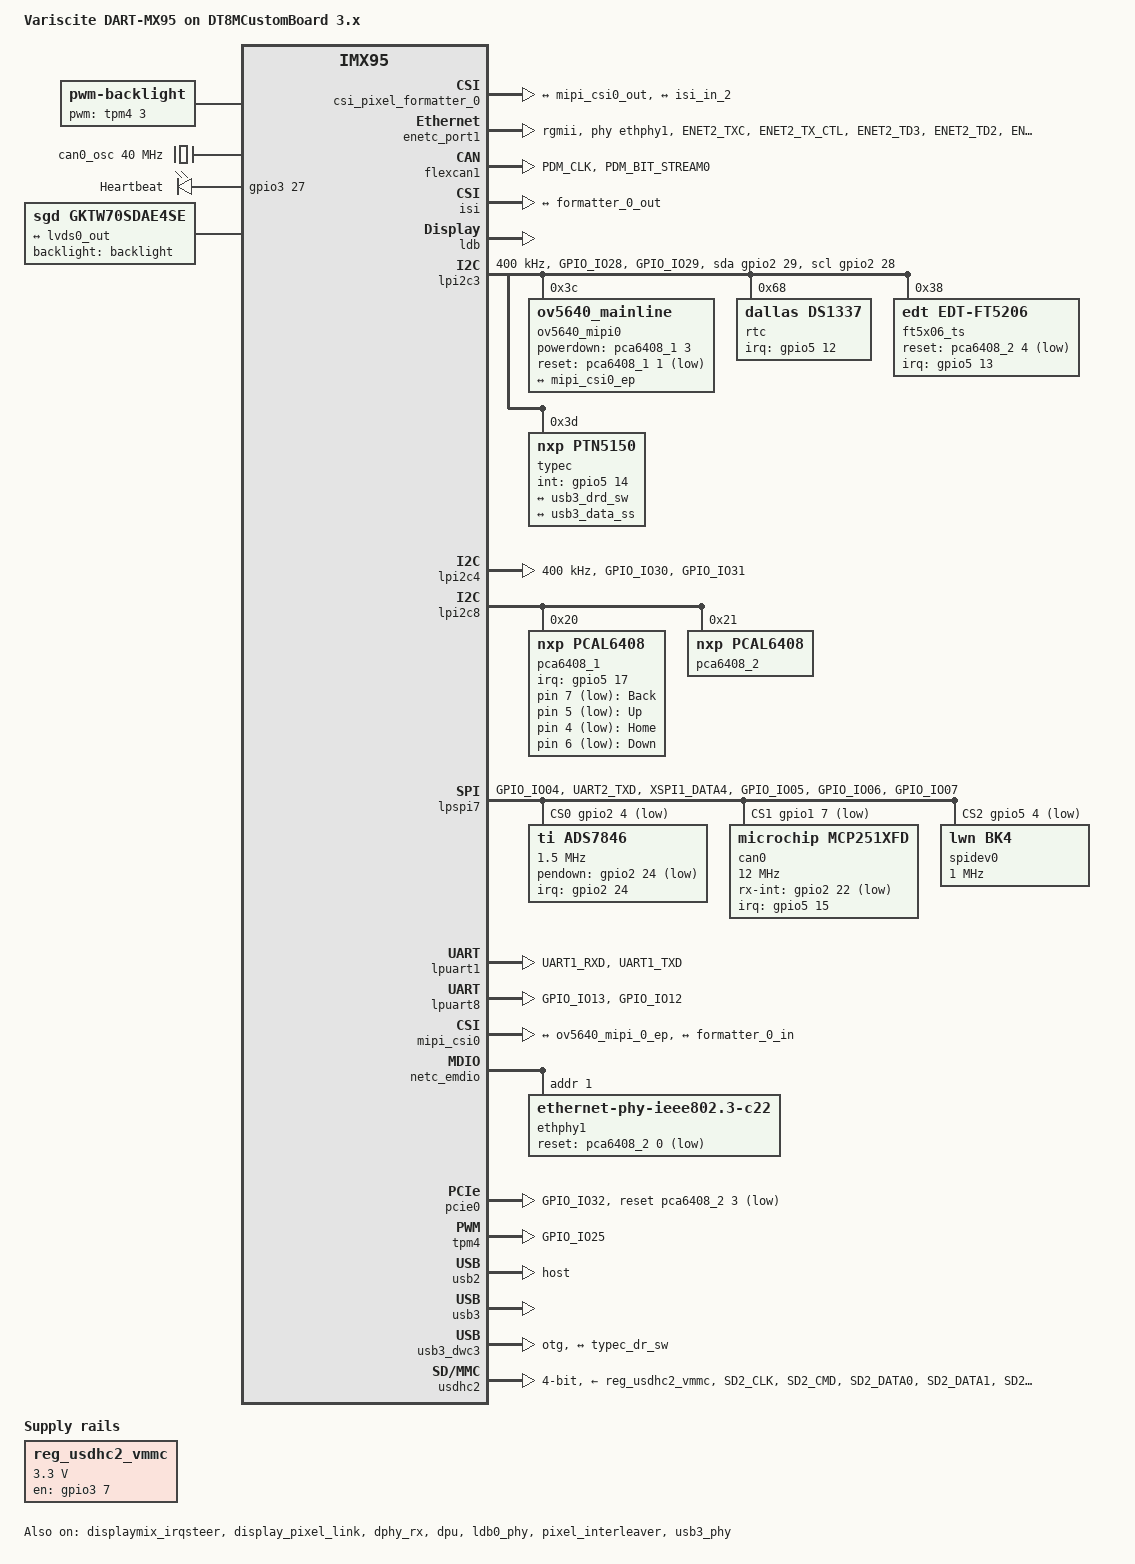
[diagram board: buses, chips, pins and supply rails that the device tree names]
// SPDX-License-Identifier: (GPL-2.0+ OR MIT)
/*
 * Copyright 2023 NXP
 * Copyright 2024-2025 Variscite Ltd.
 */

#include <dt-bindings/clock/fsl,imx95-clock.h>
#include "imx95-var-dart.dtsi"

/ {
	model = "Variscite DART-MX95 on DT8MCustomBoard 3.x";

	aliases {
		ethernet0 = &enetc_port0;
		ethernet1 = &enetc_port1;
	};

	backlight: backlight {
		compatible = "pwm-backlight";
		pwms = <&tpm4 3 1000000 0>;
		status = "okay";

		brightness-levels = < 0  1  2  3  4  5  6  7  8  9
				     10 11 12 13 14 15 16 17 18 19
				     20 21 22 23 24 25 26 27 28 29
				     30 31 32 33 34 35 36 37 38 39
				     40 41 42 43 44 45 46 47 48 49
				     50 51 52 53 54 55 56 57 58 59
				     60 61 62 63 64 65 66 67 68 69
				     70 71 72 73 74 75 76 77 78 79
				     80 81 82 83 84 85 86 87 88 89
				     90 91 92 93 94 95 96 97 98 99
				    100>;
		default-brightness-level = <80>;
	};

	can0_osc: can0_osc {
		compatible = "fixed-clock";
		#clock-cells = <0>;
		clock-frequency = <40000000>;
	};

	chosen {
		stdout-path = &lpuart1;
	};

	clk_ov5640_fixed: clock {
		#clock-cells = <0>;
		compatible = "fixed-clock";
		clock-frequency = <24000000>;
	};

	gpio-leds {
		compatible = "gpio-leds";
		pinctrl-names = "default";
		pinctrl-0 = <&pinctrl_gpio_leds>;
		status = "okay";

		heartbeat {
			label = "Heartbeat";
			gpios = <&gpio3 27 GPIO_ACTIVE_HIGH>;
			linux,default-trigger = "heartbeat";
		};
	};

	gpio-keys {
		compatible = "gpio-keys";
		status = "okay";

		back {
			label = "Back";
			linux,code = <KEY_BACK>;
			gpios = <&pca6408_1 7 GPIO_ACTIVE_LOW>;
			wakeup-source;
		};

		up {
			label = "Up";
			linux,code = <KEY_UP>;
			gpios = <&pca6408_1 5 GPIO_ACTIVE_LOW>;
			wakeup-source;
		};

		home {
			label = "Home";
			linux,code = <KEY_HOME>;
			gpios = <&pca6408_1 4 GPIO_ACTIVE_LOW>;
			wakeup-source;
		};

		down {
			label = "Down";
			linux,code = <KEY_DOWN>;
			gpios = <&pca6408_1 6 GPIO_ACTIVE_LOW>;
			wakeup-source;
		};
	};

	panel {
		compatible = "sgd,gktw70sdae4se", "panel-lvds";
		backlight = <&backlight>;
		width-mm = <153>;
		height-mm = <87>;
		label = "gktw70sdae4se";
		data-mapping = "jeida-24";
		status = "okay";

		panel-timing {
			clock-frequency = <74250000>;
			hactive = <800>;
			vactive = <480>;
			hback-porch = <40>;
			hfront-porch = <40>;
			vback-porch = <29>;
			vfront-porch = <13>;
			hsync-len = <48>;
			vsync-len = <3>;
			hsync-active = <0>;
			vsync-active = <0>;
			de-active = <1>;
		};
		port {
			panel_in: endpoint {
				remote-endpoint = <&lvds0_out>;
			};
		};
	};

	reg_usdhc2_vmmc: regulator-usdhc2 {
		compatible = "regulator-fixed";
		pinctrl-names = "default";
		pinctrl-0 = <&pinctrl_reg_usdhc2_vmmc>;
		regulator-name = "VDD_SD2_3V3";
		regulator-min-microvolt = <3300000>;
		regulator-max-microvolt = <3300000>;
		gpio = <&gpio3 7 GPIO_ACTIVE_HIGH>;
		off-on-delay-us = <12000>;
		enable-active-high;
	};
};

&csi_pixel_formatter_0 {
	status = "okay";

	ports {
		#address-cells = <1>;
		#size-cells = <0>;

		port@0 {
			reg = <0>;

			formatter_0_in: endpoint {
				remote-endpoint = <&mipi_csi0_out>;
			};
		};

		port@1 {
			reg = <1>;

			formatter_0_out: endpoint {
				remote-endpoint = <&isi_in_2>;
			};
		};
	};
};

&displaymix_irqsteer {
	status = "okay";
};

&display_pixel_link {
	status = "okay";
};

&dphy_rx {
	status = "okay";
};

&dpu {
	status = "okay";
};

&enetc_port1 {
	pinctrl-names = "default";
	pinctrl-0 = <&pinctrl_enetc1>;
	phy-handle = <&ethphy1>;
	phy-mode = "rgmii";
	status = "okay";
};

&flexcan1 {
	pinctrl-names = "default";
	pinctrl-0 = <&pinctrl_flexcan1>;
	status = "okay";
};

&gpio1 {
	status = "okay";
};

&isi {
	status = "okay";

	ports {
		#address-cells = <1>;
		#size-cells = <0>;

		port@2 {
			reg = <2>;

			isi_in_2: endpoint {
				remote-endpoint = <&formatter_0_out>;
			};
		};
	};
};

&ldb0_phy {
	status = "okay";
};

&ldb {
	#address-cells = <1>;
	#size-cells = <0>;
	assigned-clocks = <&scmi_clk IMX95_CLK_LDBPLL_VCO>,
			  <&scmi_clk IMX95_CLK_LDBPLL>;
	assigned-clock-rates = <4158000000>, <519750000>;
	status = "okay";

	channel@0 {
		#address-cells = <1>;
		#size-cells = <0>;
		status = "okay";
		reg = <0>;

		port@1 {
			reg = <1>;

			lvds0_out: endpoint {
				remote-endpoint = <&panel_in>;
			};
		};
	};
};

&lpi2c3 {
	#address-cells = <1>;
	#size-cells = <0>;
	clock-frequency = <400000>;
	pinctrl-names = "default", "gpio", "sleep";
	pinctrl-0 = <&pinctrl_lpi2c3>;
	pinctrl-1 = <&pinctrl_lpi2c3_gpio>;
	pinctrl-2 = <&pinctrl_lpi2c3_gpio>;
	scl-gpios = <&gpio2 28 GPIO_ACTIVE_HIGH>;
	sda-gpios = <&gpio2 29 GPIO_ACTIVE_HIGH>;
	status = "okay";

	ov5640_mipi0: ov5640_mipi0@3c {
		compatible = "ov5640_mainline";
		reg = <0x3c>;
		clocks = <&clk_ov5640_fixed>;
		clock-names = "xclk";
		assigned-clock-rates = <24000000>;
		powerdown-gpios = <&pca6408_1 3 GPIO_ACTIVE_HIGH>;
		reset-gpios = <&pca6408_1 1 GPIO_ACTIVE_LOW>;
		status = "okay";

		port {
			ov5640_mipi_0_ep: endpoint {
				remote-endpoint = <&mipi_csi0_ep>;
				data-lanes = <1 2>;
				clock-lanes = <0>;
			};
		};
	};

	/* DS1337 RTC module */
	rtc@68 {
		compatible = "dallas,ds1337";
		reg = <0x68>;
		pinctrl-names = "default";
		pinctrl-0 = <&pinctrl_rtc>;
		interrupt-parent = <&gpio5>;
		interrupts = <12 IRQ_TYPE_EDGE_FALLING>;
		wakeup-source;
		status = "okay";
	};

	/* Capacitive touch controller */
	ft5x06_ts: ft5x06_ts@38 {
		compatible = "edt,edt-ft5206";
		pinctrl-names = "default";
		pinctrl-0 = <&pinctrl_captouch>;
		reg = <0x38>;
		reset-gpios = <&pca6408_2 4 GPIO_ACTIVE_LOW>;
		interrupt-parent = <&gpio5>;
		interrupts = <13 IRQ_TYPE_EDGE_FALLING>;
		touchscreen-size-x = <800>;
		touchscreen-size-y = <480>;
		touchscreen-inverted-x;
		touchscreen-inverted-y;
		wakeup-source;
		status = "okay";
	};

	typec@3d {
		compatible = "nxp,ptn5150";
		pinctrl-names = "default";
		pinctrl-0 = <&pinctrl_ptn5150>;
		reg = <0x3d>;
		int-gpios =<&gpio5 14 GPIO_ACTIVE_HIGH>;
		irq-is-id-quirk;
		status ="okay";

		port {
			typec_dr_sw: endpoint {
				remote-endpoint = <&usb3_drd_sw>;
			};
		};

		typec_con: connector {
			compatible = "usb-c-connector";
			label = "USB-C";
			power-role = "dual";
			data-role = "dual";
			try-power-role = "sink";
			source-pdos = <PDO_FIXED(5000, 3000, PDO_FIXED_USB_COMM)>;
			sink-pdos = <PDO_FIXED(5000, 0, PDO_FIXED_USB_COMM)>;
			op-sink-microwatt = <0>;
			self-powered;

			ports {
				#address-cells = <1>;
				#size-cells = <0>;

				port@1 {
					reg = <1>;
					typec_con_ss: endpoint {
						remote-endpoint = <&usb3_data_ss>;
					};
				};
			};
		};
	};
};

&lpi2c4 {
	#address-cells = <1>;
	#size-cells = <0>;
	clock-frequency = <400000>;
	pinctrl-names = "default", "sleep";
	pinctrl-0 = <&pinctrl_lpi2c4>;
	pinctrl-1 = <&pinctrl_lpi2c4>;
	status = "okay";
};

&lpi2c8 {
	pca6408_1: gpio@20 {
		compatible = "nxp,pcal6408";
		standard-regs-fallback;
		reg = <0x20>;
		gpio-controller;
		#gpio-cells = <2>;
		pinctrl-names = "default";
		pinctrl-0 = <&pinctrl_pca6408>;
		interrupt-parent = <&gpio5>;
		interrupts = <17 IRQ_TYPE_EDGE_FALLING>;
	};

	pca6408_2: gpio@21 {
		compatible = "nxp,pcal6408";
		standard-regs-fallback;
		reg = <0x21>;
		gpio-controller;
		#gpio-cells = <2>;
	};
};

&lpspi7 {
	pinctrl-names = "default", "sleep";
	pinctrl-0 = <&pinctrl_lpspi7>;
	pinctrl-1 = <&pinctrl_lpspi7>;
	cs-gpios = <&gpio2 4 GPIO_ACTIVE_LOW>,
		   <&gpio1 7 GPIO_ACTIVE_LOW>,
		   <&gpio5 4 GPIO_ACTIVE_LOW>;
	status = "okay";

	/* Resistive touch controller */
	ads7846@0 {
		compatible = "ti,ads7846";
		reg = <0>;
		pinctrl-names = "default";
		pinctrl-0 = <&pinctrl_restouch>;
		interrupt-parent = <&gpio2>;
		interrupts = <24 IRQ_TYPE_EDGE_FALLING>;
		spi-max-frequency = <1500000>;
		pendown-gpio = <&gpio2 24 GPIO_ACTIVE_LOW>;
		ti,x-min = /bits/ 16 <125>;
		ti,x-max = /bits/ 16 <4008>;
		ti,y-min = /bits/ 16 <282>;
		ti,y-max = /bits/ 16 <3864>;
		ti,x-plate-ohms = /bits/ 16 <180>;
		ti,pressure-max = /bits/ 16 <255>;
		ti,debounce-max = /bits/ 16 <10>;
		ti,debounce-tol = /bits/ 16 <3>;
		ti,debounce-rep = /bits/ 16 <1>;
		ti,settle-delay-usec = /bits/ 16 <150>;
		ti,keep-vref-on;
		wakeup-source;
		status = "okay";
	};

	can0: can@1 {
		compatible = "microchip,mcp251xfd";
		reg = <1>;
		pinctrl-names = "default";
		pinctrl-0 = <&pinctrl_can>;
		interrupts-extended = <&gpio5 15 IRQ_TYPE_LEVEL_LOW>;
		microchip,rx-int-gpios = <&gpio2 22 GPIO_ACTIVE_LOW>;
		clocks = <&can0_osc>;
		spi-max-frequency = <12000000>;
		status = "okay";
	};

	spidev0: spi@2 {
		reg = <2>;
		compatible = "lwn,bk4";
		spi-max-frequency = <1000000>;
	};
};

&lpuart1 {
	/* console */
	pinctrl-names = "default";
	pinctrl-0 = <&pinctrl_uart1>;
	status = "okay";
};

/* Header (J12.4, J12.6) */
&lpuart8 {
	pinctrl-names = "default";
	pinctrl-0 = <&pinctrl_uart8>;
	status = "okay";
};

&mipi_csi0 {
	status = "okay";

	ports {
		#address-cells = <1>;
		#size-cells = <0>;

		port@0 {
			reg = <0>;
			mipi_csi0_ep: endpoint {
				remote-endpoint = <&ov5640_mipi_0_ep>;
				data-lanes = <1 2>;
				clock-lanes = <0>;
			};
		};

		port@1 {
			reg = <1>;
				mipi_csi0_out: endpoint {
				remote-endpoint = <&formatter_0_in>;
			};
		};
	};
};

&netc_emdio {

	ethphy1: ethernet-phy@1 {
		compatible = "ethernet-phy-ieee802.3-c22";
		reg = <1>;
		reset-gpios = <&pca6408_2 0 GPIO_ACTIVE_LOW>;
		reset-assert-us = <10000>;
		reset-deassert-us = <100000>;

		mxl-8611x,led0_cfg = <(
			MXL8611X_LEDX_CFG_LINK_UP_RX_ACT_ON |
			MXL8611X_LEDX_CFG_LINK_UP_TX_ACT_ON |
			MXL8611X_LEDX_CFG_TRAFFIC_ACT_BLINK_IND
		)>;
		mxl-8611x,led1_cfg = <(
			MXL8611X_LEDX_CFG_LINK_UP_10MB_ON |
			MXL8611X_LEDX_CFG_LINK_UP_100MB_ON |
			MXL8611X_LEDX_CFG_LINK_UP_1GB_ON
		)>;
	};
};

&pcie0 {
	pinctrl-0 = <&pinctrl_pcie0>;
	pinctrl-names = "default";
	fsl,refclk-pad-mode = <IMX8_PCIE_REFCLK_PAD_INPUT>;
	reset-gpio = <&pca6408_2 3 GPIO_ACTIVE_LOW>;
	status = "okay";
};

&pixel_interleaver {
	#address-cells = <1>;
	#size-cells = <0>;
	status = "okay";

	channel@0 {
		reg = <0>;
		status = "okay";
	};
};

&scmi_iomuxc {
	pinctrl_captouch: captouchgrp {
		fsl,pins = <
			IMX95_PAD_GPIO_IO33__GPIO5_IO_BIT13				0x31e
		>;
	};

	pinctrl_can: cangrp {
		fsl,pins = <
			IMX95_PAD_GPIO_IO35__GPIO5_IO_BIT15				0x31e
			IMX95_PAD_GPIO_IO22__GPIO2_IO_BIT22				0x31e
		>;
	};

	pinctrl_enetc1: enetc1grp {
		fsl,pins = <
			IMX95_PAD_ENET2_TXC__NETCMIX_TOP_ETH1_RGMII_TX_CLK		0x57e
			IMX95_PAD_ENET2_TX_CTL__NETCMIX_TOP_ETH1_RGMII_TX_CTL		0x57e
			IMX95_PAD_ENET2_TD3__NETCMIX_TOP_ETH1_RGMII_TD3			0x57e
			IMX95_PAD_ENET2_TD2__NETCMIX_TOP_ETH1_RGMII_TD2			0x57e
			IMX95_PAD_ENET2_TD1__NETCMIX_TOP_ETH1_RGMII_TD1			0x57e
			IMX95_PAD_ENET2_TD0__NETCMIX_TOP_ETH1_RGMII_TD0			0x57e
			IMX95_PAD_ENET2_RXC__NETCMIX_TOP_ETH1_RGMII_RX_CLK		0x57e
			IMX95_PAD_ENET2_RX_CTL__NETCMIX_TOP_ETH1_RGMII_RX_CTL		0x57e
			IMX95_PAD_ENET2_RD0__NETCMIX_TOP_ETH1_RGMII_RD0			0x57e
			IMX95_PAD_ENET2_RD1__NETCMIX_TOP_ETH1_RGMII_RD1			0x57e
			IMX95_PAD_ENET2_RD2__NETCMIX_TOP_ETH1_RGMII_RD2			0x57e
			IMX95_PAD_ENET2_RD3__NETCMIX_TOP_ETH1_RGMII_RD3			0x57e
		>;
	};

	pinctrl_flexcan1: flexcan1grp {
		fsl,pins = <
			IMX95_PAD_PDM_CLK__AONMIX_TOP_CAN1_TX				0x39e
			IMX95_PAD_PDM_BIT_STREAM0__AONMIX_TOP_CAN1_RX			0x39e
		>;
	};

	pinctrl_gpio_leds: ledgrp {
		fsl,pins = <
			IMX95_PAD_CCM_CLKO2__GPIO3_IO_BIT27				0x31e
		>;
	};

	pinctrl_lpi2c3: lpi2c3grp {
		fsl,pins = <
			IMX95_PAD_GPIO_IO28__LPI2C3_SDA					0x40000b9e
			IMX95_PAD_GPIO_IO29__LPI2C3_SCL					0x40000b9e
		>;
	};

	pinctrl_lpi2c3_gpio: lpi2c3grp-gpio {
		fsl,pins = <
			IMX95_PAD_GPIO_IO28__GPIO2_IO_BIT28				0x31e
			IMX95_PAD_GPIO_IO29__GPIO2_IO_BIT29				0x31e
		>;
	};

	pinctrl_lpi2c4: lpi2c4grp {
		fsl,pins = <
			IMX95_PAD_GPIO_IO30__LPI2C4_SDA					0x40000b9e
			IMX95_PAD_GPIO_IO31__LPI2C4_SCL					0x40000b9e
		>;
	};

	pinctrl_lpspi7: lpspi7grp {
		fsl,pins = <
			IMX95_PAD_GPIO_IO04__GPIO2_IO_BIT4				0x3fe		/* j16.4 ADS7846 */
			IMX95_PAD_UART2_TXD__AONMIX_TOP_GPIO1_IO_BIT7			0x3fe		/* j14.4 MCP2518FDT */
			IMX95_PAD_XSPI1_DATA4__GPIO5_IO_BIT4				0x3fe		/* j25.2 spidev */
			IMX95_PAD_GPIO_IO05__LPSPI7_SIN					0x3fe
			IMX95_PAD_GPIO_IO06__LPSPI7_SOUT				0x3fe
			IMX95_PAD_GPIO_IO07__LPSPI7_SCK					0x3fe
		>;
	};

	pinctrl_pca6408: pca6408grp {
		fsl,pins = <
			IMX95_PAD_GPIO_IO37__GPIO5_IO_BIT17				0x31e
		>;
	};

	pinctrl_pcie0: pcie0grp {
		fsl,pins = <
			IMX95_PAD_GPIO_IO32__HSIOMIX_TOP_PCIE1_CLKREQ_B			0x40000b1e
		>;
	};

	pinctrl_ptn5150: ptn5150grp {
		fsl,pins = <
			IMX95_PAD_GPIO_IO34__GPIO5_IO_BIT14				0x31e
		>;
	};

	pinctrl_pwm_backlight: backlightgrp {
		fsl,pins = <
			IMX95_PAD_GPIO_IO25__TPM4_CH3					0x51e
		>;
	};

	pinctrl_reg_usdhc2_vmmc: regusdhc2vmmcgrp {
		fsl,pins = <
			IMX95_PAD_SD2_RESET_B__GPIO3_IO_BIT7				0x31e
		>;
	};

	pinctrl_restouch: restouchgrp {
		fsl,pins = <
			IMX95_PAD_GPIO_IO24__GPIO2_IO_BIT24				0x31e
		>;
	};

	pinctrl_rtc: rtcgrp {
		fsl,pins = <
			IMX95_PAD_GPIO_IO32__GPIO5_IO_BIT12				0x31e
		>;
	};

	pinctrl_uart1: uart1grp {
		fsl,pins = <
			IMX95_PAD_UART1_RXD__AONMIX_TOP_LPUART1_RX			0x31e
			IMX95_PAD_UART1_TXD__AONMIX_TOP_LPUART1_TX			0x31e
		>;
	};

	pinctrl_uart8: uart8grp {
		fsl,pins = <
			IMX95_PAD_GPIO_IO13__LPUART8_RX					0x31e
			IMX95_PAD_GPIO_IO12__LPUART8_TX					0x31e
		>;
	};

	pinctrl_usdhc2_gpio: usdhc2gpiogrp {
		fsl,pins = <
			IMX95_PAD_SD2_CD_B__GPIO3_IO_BIT0				0x31e
		>;
	};

	pinctrl_usdhc2: usdhc2grp {
		fsl,pins = <
			IMX95_PAD_SD2_CLK__USDHC2_CLK					0x158e
			IMX95_PAD_SD2_CMD__USDHC2_CMD					0x138e
			IMX95_PAD_SD2_DATA0__USDHC2_DATA0				0x138e
			IMX95_PAD_SD2_DATA1__USDHC2_DATA1				0x138e
			IMX95_PAD_SD2_DATA2__USDHC2_DATA2				0x138e
			IMX95_PAD_SD2_DATA3__USDHC2_DATA3				0x138e
			IMX95_PAD_SD2_VSELECT__USDHC2_VSELECT				0x51e
		>;
	};

	pinctrl_usdhc2_100mhz: usdhc2-100mhzgrp {
		fsl,pins = <
			IMX95_PAD_SD2_CLK__USDHC2_CLK					0x158e
			IMX95_PAD_SD2_CMD__USDHC2_CMD					0x138e
			IMX95_PAD_SD2_DATA0__USDHC2_DATA0				0x138e
			IMX95_PAD_SD2_DATA1__USDHC2_DATA1				0x138e
			IMX95_PAD_SD2_DATA2__USDHC2_DATA2				0x138e
			IMX95_PAD_SD2_DATA3__USDHC2_DATA3				0x138e
			IMX95_PAD_SD2_VSELECT__USDHC2_VSELECT				0x51e
		>;
	};

	pinctrl_usdhc2_200mhz: usdhc2-200mhzgrp {
		fsl,pins = <
			IMX95_PAD_SD2_CLK__USDHC2_CLK					0x15fe
			IMX95_PAD_SD2_CMD__USDHC2_CMD					0x13fe
			IMX95_PAD_SD2_DATA0__USDHC2_DATA0				0x13fe
			IMX95_PAD_SD2_DATA1__USDHC2_DATA1				0x13fe
			IMX95_PAD_SD2_DATA2__USDHC2_DATA2				0x13fe
			IMX95_PAD_SD2_DATA3__USDHC2_DATA3				0x13fe
			IMX95_PAD_SD2_VSELECT__USDHC2_VSELECT				0x51e
		>;
	};
};

&tpm4 {
	pinctrl-names = "default";
	pinctrl-0 = <&pinctrl_pwm_backlight>;
	status = "okay";
};

&usb2 {
	dr_mode = "host";
	hnp-disable;
	srp-disable;
	adp-disable;
	disable-over-current;
	status = "okay";
};

&usb3 {
	status = "okay";
};

&usb3_dwc3 {
	dr_mode = "otg";
	hnp-disable;
	srp-disable;
	adp-disable;
	usb-role-switch;
	role-switch-default-mode = "none";
	snps,dis-u1-entry-quirk;
	snps,dis-u2-entry-quirk;
	status = "okay";

	port {
		usb3_drd_sw: endpoint {
			remote-endpoint = <&typec_dr_sw>;
		};
	};
};

&usb3_phy {
	status = "okay";

	lane-swapp-disable-quirk;
	port {
		usb3_data_ss: endpoint {
			remote-endpoint = <&typec_con_ss>;
		};
	};
};

&usdhc2 {
	pinctrl-names = "default","state_100mhz","state_200mhz","sleep";
	pinctrl-0 = <&pinctrl_usdhc2>, <&pinctrl_usdhc2_gpio>;
	pinctrl-1 = <&pinctrl_usdhc2_100mhz>, <&pinctrl_usdhc2_gpio>;
	pinctrl-2 = <&pinctrl_usdhc2_200mhz>, <&pinctrl_usdhc2_gpio>;
	pinctrl-3 = <&pinctrl_usdhc2>, <&pinctrl_usdhc2_gpio>;
	cd-gpios = <&gpio3 00 GPIO_ACTIVE_LOW>;
	fsl,cd-gpio-wakeup-disable;
	vmmc-supply = <&reg_usdhc2_vmmc>;
	bus-width = <4>;
	status = "okay";
};
